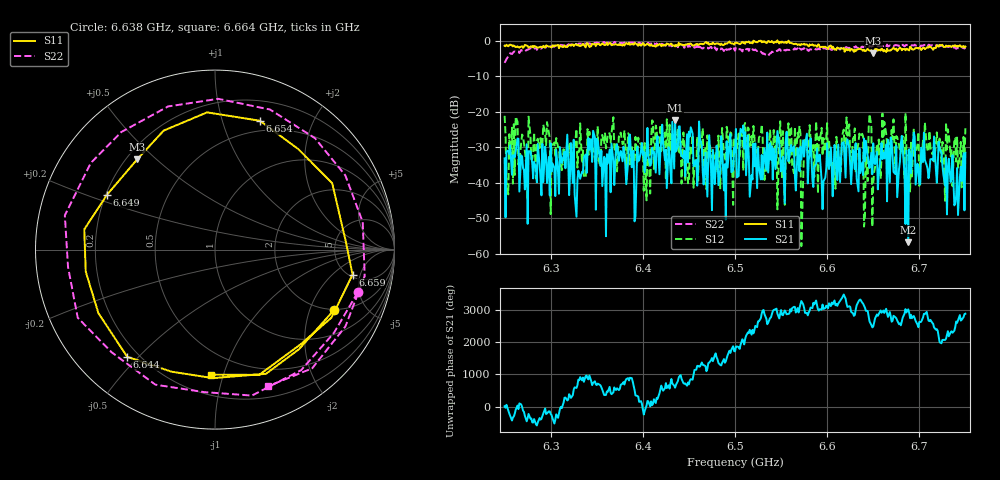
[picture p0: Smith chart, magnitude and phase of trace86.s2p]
# Hz S RI R 50
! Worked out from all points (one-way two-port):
!   401 points, 6.25 GHz to 6.75 GHz, reference 50 ohm
!   highest |S21| = -22.28 dB at 6.435 GHz (marker M1); lowest = -56.8 dB at 6.688 GHz (marker M2)
!   lowest |S11| = -3.6 dB at 6.65 GHz (marker M3), VSWR 4.95, Z = 12.1 + j21.8 ohm
!   |S11| at or under -10 dB: nowhere
!   |S22| runs from -6.2 to -0.3 dB; largest |S21 - S12| = 0.11
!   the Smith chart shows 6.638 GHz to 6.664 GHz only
!   S11 on the Smith chart (normalised r, x): 6.638 GHz: 1.96, -2.96; 6.644 GHz: 0.16, -0.46; 6.649 GHz: 0.20, +0.23; 6.654 GHz: 0.39, +1.33; 6.659 GHz: 5.31, -3.77; 6.664 GHz: 0.33, -0.91
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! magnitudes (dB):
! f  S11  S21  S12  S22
! 6.25 GHz  -1.4  -33.1  -21.1  -6.2
! 6.254 GHz  -1.5  -30.9  -43.3  -4.3
! 6.334 GHz  -1.2  -36.9  -34.5  -0.7
! 6.394 GHz  -1.1  -29.8  -34.6  -0.4
! 6.418 GHz  -0.9  -37.6  -33.1  -1.7
! 6.435 GHz  -1.6  -22.3  -31.3  -1.3
! 6.468 GHz  -0.4  -31.5  -29.7  -2.2
! 6.5 GHz  -0.6  -31.4  -29.3  -2.8
! 6.584 GHz  -1.0  -39.2  -31.3  -2.5
! 6.638 GHz  -2.6  -34.3  -26.2  -1.6
! 6.641 GHz  -2.9  -33.8  -49.6  -1.5
! 6.644 GHz  -2.2  -32.6  -39.5  -1.7
! 6.649 GHz  -3.4  -37.6  -52.4  -1.3
! 6.65 GHz  -3.6  -28.9  -40.1  -1.5
! 6.654 GHz  -2.4  -31.3  -29.3  -1.5
! 6.659 GHz  -2.2  -28.8  -32.5  -1.5
! 6.664 GHz  -3.1  -29.2  -26.0  -1.8
! 6.668 GHz  -2.7  -39.8  -28.9  -1.3
! 6.688 GHz  -2.5  -56.8  -32.4  -1.2
! 6.692 GHz  -2.4  -32.6  -38.6  -1.2
! 6.74 GHz  -1.7  -43.7  -34.0  -2.2
! 6.75 GHz  -1.7  -31.5  -24.6  -2.0
